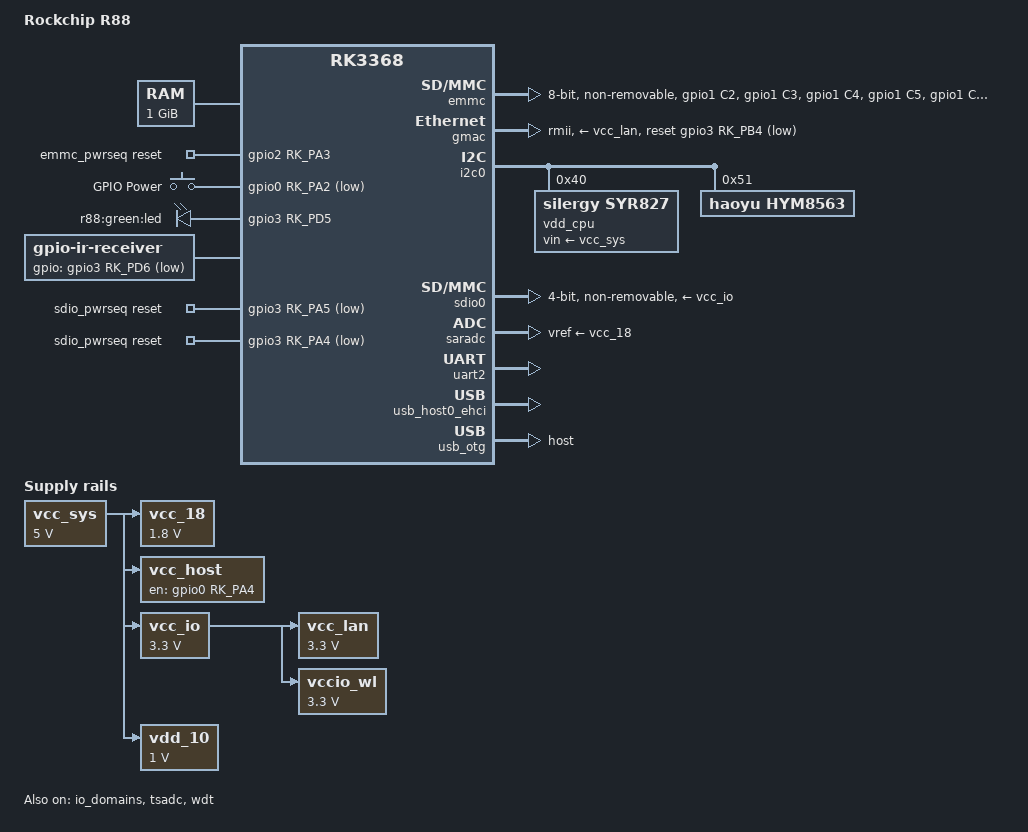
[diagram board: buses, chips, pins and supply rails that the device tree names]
// SPDX-License-Identifier: (GPL-2.0+ OR MIT)
/*
 * Copyright (c) 2015 Heiko Stuebner <heiko@sntech.de>
 */

/dts-v1/;
#include "rk3368.dtsi"
#include <dt-bindings/input/input.h>

/ {
	model = "Rockchip R88";
	compatible = "rockchip,r88", "rockchip,rk3368";

	aliases {
		ethernet0 = &gmac;
		mmc0 = &sdio0;
		mmc1 = &emmc;
	};

	chosen {
		stdout-path = "serial2:115200n8";
	};

	memory {
		device_type = "memory";
		reg = <0x0 0x0 0x0 0x40000000>;
	};

	emmc_pwrseq: emmc-pwrseq {
		compatible = "mmc-pwrseq-emmc";
		pinctrl-0 = <&emmc_reset>;
		pinctrl-names = "default";
		reset-gpios = <&gpio2 RK_PA3 GPIO_ACTIVE_HIGH>;
	};

	keys: gpio-keys {
		compatible = "gpio-keys";
		pinctrl-names = "default";
		pinctrl-0 = <&pwr_key>;

		key-power {
			wakeup-source;
			gpios = <&gpio0 RK_PA2 GPIO_ACTIVE_LOW>;
			label = "GPIO Power";
			linux,code = <KEY_POWER>;
		};
	};

	leds: gpio-leds {
		compatible = "gpio-leds";

		work_led: led-0 {
			gpios = <&gpio3 RK_PD5 GPIO_ACTIVE_HIGH>;
			label = "r88:green:led";
			pinctrl-names = "default";
			pinctrl-0 = <&led_ctl>;
		};
	};

	ir: ir-receiver {
		compatible = "gpio-ir-receiver";
		gpios = <&gpio3 RK_PD6 GPIO_ACTIVE_LOW>;
		pinctrl-names = "default";
		pinctrl-0 = <&ir_int>;
	};

	sdio_pwrseq: sdio-pwrseq {
		compatible = "mmc-pwrseq-simple";
		clocks = <&hym8563>;
		clock-names = "ext_clock";
		pinctrl-names = "default";
		pinctrl-0 = <&bt_rst>, <&wifi_reg_on>;

		reset-gpios =
			/* BT_RST_N */
			<&gpio3 RK_PA5 GPIO_ACTIVE_LOW>,

			/* WL_REG_ON */
			<&gpio3 RK_PA4 GPIO_ACTIVE_LOW>;
	};

	vcc_18: vcc18-regulator {
		compatible = "regulator-fixed";
		regulator-name = "vcc_18";
		regulator-min-microvolt = <1800000>;
		regulator-max-microvolt = <1800000>;
		regulator-always-on;
		regulator-boot-on;
		vin-supply = <&vcc_sys>;
	};

	/* supplies both host and otg */
	vcc_host: vcc-host-regulator {
		compatible = "regulator-fixed";
		enable-active-high;
		gpio = <&gpio0 RK_PA4 GPIO_ACTIVE_HIGH>;
		pinctrl-names = "default";
		pinctrl-0 = <&host_vbus_drv>;
		regulator-name = "vcc_host";
		regulator-always-on;
		regulator-boot-on;
		vin-supply = <&vcc_sys>;
	};

	vcc_io: vcc-io-regulator {
		compatible = "regulator-fixed";
		regulator-name = "vcc_io";
		regulator-min-microvolt = <3300000>;
		regulator-max-microvolt = <3300000>;
		regulator-always-on;
		regulator-boot-on;
		vin-supply = <&vcc_sys>;
	};

	vcc_lan: vcc-lan-regulator {
		compatible = "regulator-fixed";
		regulator-name = "vcc_lan";
		regulator-min-microvolt = <3300000>;
		regulator-max-microvolt = <3300000>;
		regulator-always-on;
		regulator-boot-on;
		vin-supply = <&vcc_io>;
	};

	vcc_sys: vcc-sys-regulator {
		compatible = "regulator-fixed";
		regulator-name = "vcc_sys";
		regulator-min-microvolt = <5000000>;
		regulator-max-microvolt = <5000000>;
		regulator-always-on;
		regulator-boot-on;
	};

	vccio_wl: vccio-wl-regulator {
		compatible = "regulator-fixed";
		regulator-name = "vccio_wl";
		regulator-min-microvolt = <3300000>;
		regulator-max-microvolt = <3300000>;
		regulator-always-on;
		regulator-boot-on;
		vin-supply = <&vcc_io>;
	};

	vdd_10: vdd-10-regulator {
		compatible = "regulator-fixed";
		regulator-name = "vdd_10";
		regulator-min-microvolt = <1000000>;
		regulator-max-microvolt = <1000000>;
		regulator-always-on;
		regulator-boot-on;
		vin-supply = <&vcc_sys>;
	};
};

&emmc {
	bus-width = <8>;
	cap-mmc-highspeed;
	mmc-pwrseq = <&emmc_pwrseq>;
	non-removable;
	pinctrl-names = "default";
	pinctrl-0 = <&emmc_clk &emmc_cmd &emmc_bus8>;
	status = "okay";
};

&gmac {
	phy-supply = <&vcc_lan>;
	phy-mode = "rmii";
	clock_in_out = "output";
	snps,reset-gpio = <&gpio3 RK_PB4 GPIO_ACTIVE_HIGH>;
	snps,reset-active-low;
	snps,reset-delays-us = <0 10000 1000000>;
	pinctrl-names = "default";
	pinctrl-0 = <&rmii_pins>;
	tx_delay = <0x30>;
	rx_delay = <0x10>;
	status = "okay";
};

&i2c0 {
	status = "okay";

	vdd_cpu: syr827@40 {
		compatible = "silergy,syr827";
		reg = <0x40>;
		fcs,suspend-voltage-selector = <1>;
		regulator-name = "vdd_cpu";
		regulator-enable-ramp-delay = <300>;
		regulator-min-microvolt = <712500>;
		regulator-max-microvolt = <1500000>;
		regulator-ramp-delay = <8000>;
		regulator-always-on;
		regulator-boot-on;
		vin-supply = <&vcc_sys>;
	};

	hym8563: rtc@51 {
		compatible = "haoyu,hym8563";
		reg = <0x51>;
		#clock-cells = <0>;
		clock-output-names = "xin32k";
		/* rtc_int is not connected */
	};
};

&io_domains {
	status = "okay";

	audio-supply = <&vcc_io>;
	gpio30-supply = <&vcc_io>;
	gpio1830-supply = <&vcc_io>;
	wifi-supply = <&vccio_wl>;
};

&sdio0 {
	assigned-clocks = <&cru SCLK_SDIO0>;
	assigned-clock-parents = <&cru PLL_CPLL>;
	bus-width = <4>;
	cap-sd-highspeed;
	cap-sdio-irq;
	keep-power-in-suspend;
	mmc-pwrseq = <&sdio_pwrseq>;
	non-removable;
	pinctrl-names = "default";
	pinctrl-0 = <&sdio0_clk &sdio0_cmd &sdio0_bus4>;
	vmmc-supply = <&vcc_io>;
	vqmmc-supply = <&vccio_wl>;
	status = "okay";
};

&pinctrl {
	pcfg_pull_none_drv_8ma: pcfg-pull-none-drv-8ma {
		bias-disable;
		drive-strength = <8>;
	};

	pcfg_pull_up_drv_8ma: pcfg-pull-up-drv-8ma {
		bias-pull-up;
		drive-strength = <8>;
	};

	emmc {
		emmc_bus8: emmc-bus8 {
			rockchip,pins = <1 RK_PC2 2 &pcfg_pull_up_drv_8ma>,
					<1 RK_PC3 2 &pcfg_pull_up_drv_8ma>,
					<1 RK_PC4 2 &pcfg_pull_up_drv_8ma>,
					<1 RK_PC5 2 &pcfg_pull_up_drv_8ma>,
					<1 RK_PC6 2 &pcfg_pull_up_drv_8ma>,
					<1 RK_PC7 2 &pcfg_pull_up_drv_8ma>,
					<1 RK_PD0 2 &pcfg_pull_up_drv_8ma>,
					<1 RK_PD1 2 &pcfg_pull_up_drv_8ma>;
		};

		emmc-clk {
			rockchip,pins = <2 RK_PA4 2 &pcfg_pull_none_drv_8ma>;
		};

		emmc-cmd {
			rockchip,pins = <1 RK_PD2 2 &pcfg_pull_up_drv_8ma>;
		};

		emmc_reset: emmc-reset {
			rockchip,pins = <2 RK_PA3 RK_FUNC_GPIO &pcfg_pull_none>;
		};
	};

	ir {
		ir_int: ir-int {
			rockchip,pins = <3 RK_PD6 RK_FUNC_GPIO &pcfg_pull_up>;
		};
	};

	keys {
		pwr_key: pwr-key {
			rockchip,pins = <0 RK_PA2 RK_FUNC_GPIO &pcfg_pull_up>;
		};
	};

	leds {
		stby_pwren: stby-pwren {
			rockchip,pins = <0 RK_PB4 RK_FUNC_GPIO &pcfg_pull_none>;
		};

		led_ctl: led-ctl {
			rockchip,pins = <3 RK_PD5 RK_FUNC_GPIO &pcfg_pull_none>;
		};
	};

	sdio {
		wifi_reg_on: wifi-reg-on {
			rockchip,pins = <3 RK_PA4 RK_FUNC_GPIO &pcfg_pull_none>;
		};

		bt_rst: bt-rst {
			rockchip,pins = <3 RK_PA5 RK_FUNC_GPIO &pcfg_pull_none>;
		};
	};

	usb {
		host_vbus_drv: host-vbus-drv {
			rockchip,pins = <0 RK_PA4 RK_FUNC_GPIO &pcfg_pull_none>;
		};
	};
};

&pmu_io_domains {
	status = "okay";

	pmu-supply = <&vcc_io>;
	vop-supply = <&vcc_io>;
};

&saradc {
	vref-supply = <&vcc_18>;
	status = "okay";
};

&tsadc {
	rockchip,hw-tshut-mode = <0>; /* tshut mode 0:CRU 1:GPIO */
	rockchip,hw-tshut-polarity = <0>; /* tshut polarity 0:LOW 1:HIGH */
	status = "okay";
};

&uart2 {
	status = "okay";
};

&usb_host0_ehci {
	status = "okay";
};

&usb_otg {
	dr_mode = "host";
	status = "okay";
};

&wdt {
	status = "okay";
};
